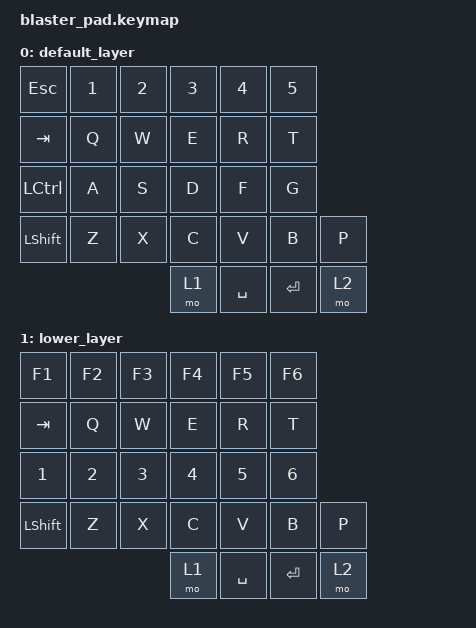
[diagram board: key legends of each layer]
#include <behaviors.dtsi>
#include <dt-bindings/zmk/keys.h>
#include <dt-bindings/zmk/bt.h>
#include <dt-bindings/zmk/outputs.h>

/ {
    keymap {
        compatible = "zmk,keymap";

        default_layer {
            // ------------------------------------------------------------
            // |   ESC   |    1    |    2    |    3    |    4    |    5    |
            // ------------------------------------------------------------
            // |   TAB   |    Q    |    W    |    E    |    R    |    T    |
            // ------------------------------------------------------------
            // |   CTRL  |    A    |    S    |    D    |    F    |    G    |
            // ----------------------------------------------------------------------
            // |   SHFT  |    Z    |    X    |    C    |    V    |    B    |         |
            // ----------------------------------------------------------------------
            //                              |  LOWER  |  SPACE  |  ENTER  |  RAISE  |
            //                              -----------------------------------------
            bindings = <
               &kp ESC   &kp N1    &kp N2     &kp N3    &kp N4    &kp N5
               &kp TAB   &kp Q     &kp W      &kp E     &kp R     &kp T
               &kp LCTRL &kp A     &kp S      &kp D     &kp F     &kp G
               &kp LSHFT &kp Z     &kp X      &kp C     &kp V     &kp B     &kp P
                                              &mo 1     &kp SPACE &kp ENTER &mo 2
            >;
        };

        lower_layer {
            // ------------------------------------------------------------
            // |   F1    |   F2    |    F3   |   F4    |   F5    |   F6    |
            // ------------------------------------------------------------
            // |         |         |         |         |         |         |
            // ------------------------------------------------------------
            // |    1    |    2    |    3    |    4    |    5    |    6    |
            // ----------------------------------------------------------------------
            // |         |         |         |         |         |         |         |
            // ----------------------------------------------------------------------
            //                              |  LOWER  |  SPACE  |  ENTER  |  RAISE  |
            //                              -----------------------------------------

            bindings = <
            &kp F1    &kp F2    &kp F3     &kp F4    &kp F5    &kp F6
            &kp TAB   &kp Q     &kp W      &kp E     &kp R     &kp T
            &kp N1    &kp N2    &kp N3     &kp N4    &kp N5    &kp N6
            &kp LSHFT &kp Z     &kp X      &kp C     &kp V     &kp B     &kp P
                                &mo 1     &kp SPACE  &kp ENTER &mo 2
            >;
        };
    };
}; 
